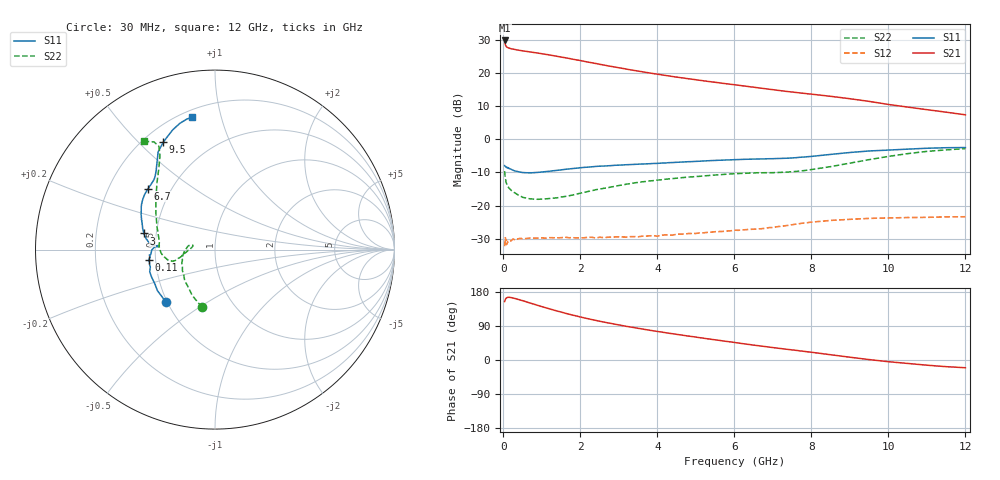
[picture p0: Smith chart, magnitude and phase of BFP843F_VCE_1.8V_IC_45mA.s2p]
! Infineon Technologies  Discrete & RF Semiconductors
! BFP843F
! VCE =  1.8 V,  IC =  45 mA
! Common Emitter S-Parameters:  Aug 2013
# GHz  S  MA  R  50
!  f  S11  S21  S12  S22
! GHz  MAG  ANG  MAG  ANG  MAG  ANG  MAG  ANG
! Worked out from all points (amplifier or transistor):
!   103 points, 30 MHz to 12 GHz, reference 50 ohm
!   highest |S21| = 29.8 dB at 30 MHz (marker M1)
!   |S21| within 3 dB of that: start of sweep to 426 MHz
!   unconditionally stable (mu >= 1): 78.35 MHz to end of sweep
!   at 400 MHz: K = 1.03, MAG = 27.4 dB, |S12| = -30.0 dB
!   at 3.7 GHz: K = 1.30, MAG = 21.4 dB, |S12| = -29.2 dB
!   at 12 GHz: K = 1.13, MAG = 13.2 dB, |S12| = -23.4 dB
!   S11 on the Smith chart (normalised r, x): 30 MHz: 0.49, -0.34; 110 MHz: 0.46, -0.06; 3 GHz: 0.43, +0.09; 6.7 GHz: 0.37, +0.34; 9.5 GHz: 0.28, +0.59; 12 GHz: 0.24, +0.81
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0.03  0.3997 -133.1  30.78 154.3  0.0244 26.5  0.3296 -102.8
0.04  0.394 -144.6  28.05 156.8  0.0275 17.5  0.2841 -116.8
0.05  0.386 -149.9  26.47 160.4  0.0328 18.0  0.2575 -125.1
0.07  0.3843 -161.2  25.06 163.2  0.0304 14.4  0.222 -142.0
0.11  0.3744 -170.8  24.06 165.2  0.0277 9.5  0.1954 -159.8
0.15  0.3599 -175.4  23.56 165.5  0.0285 11.8  0.182 -170.1
0.2  0.3519 -179.7  23.07 164.7  0.0294 8.2  0.1696 -177.3
0.9  0.3163 176.9  19.82 143.8  0.0323 6.8  0.1241 169.7
1.2  0.329 177.2  18.6 134.9  0.0328 7.2  0.1277 173.5
1.6  0.3509 175.6  16.91 123.6  0.0333 8.1  0.137 178.7
2.1  0.3758 173.0  14.91 111.1  0.0327 8.5  0.1579 -175.8
2.5  0.3921 170.3  13.46 102.2  0.0333 12.0  0.1765 -171.6
3  0.4059 167.2  11.92 92.5  0.0337 14.9  0.2005 -167.3
3.5  0.42 163.7  10.63 83.6  0.0338 16.8  0.2229 -165.0
4.1  0.4364 159.2  9.352 73.8  0.0356 19.7  0.2445 -165.0
5.1  0.4655 151.9  7.723 58.9  0.0387 24.0  0.2755 -169.6
6.1  0.4928 144.0  6.511 44.8  0.0423 27.3  0.3033 -177.9
6.7  0.5044 137.7  5.864 36.7  0.0447 29.0  0.3117 176.2
8.5  0.5898 123.1  4.426 13.9  0.0596 27.1  0.386 148.5
9.5  0.6645 115.7  3.713 1.1  0.064 22.8  0.4922 131.1
10.5  0.708 109.4  3.047 -9.1  0.0659 19.6  0.6058 120.4
12  0.7483 99.9  2.329 -20.4  0.0678 18.7  0.722 123.2
